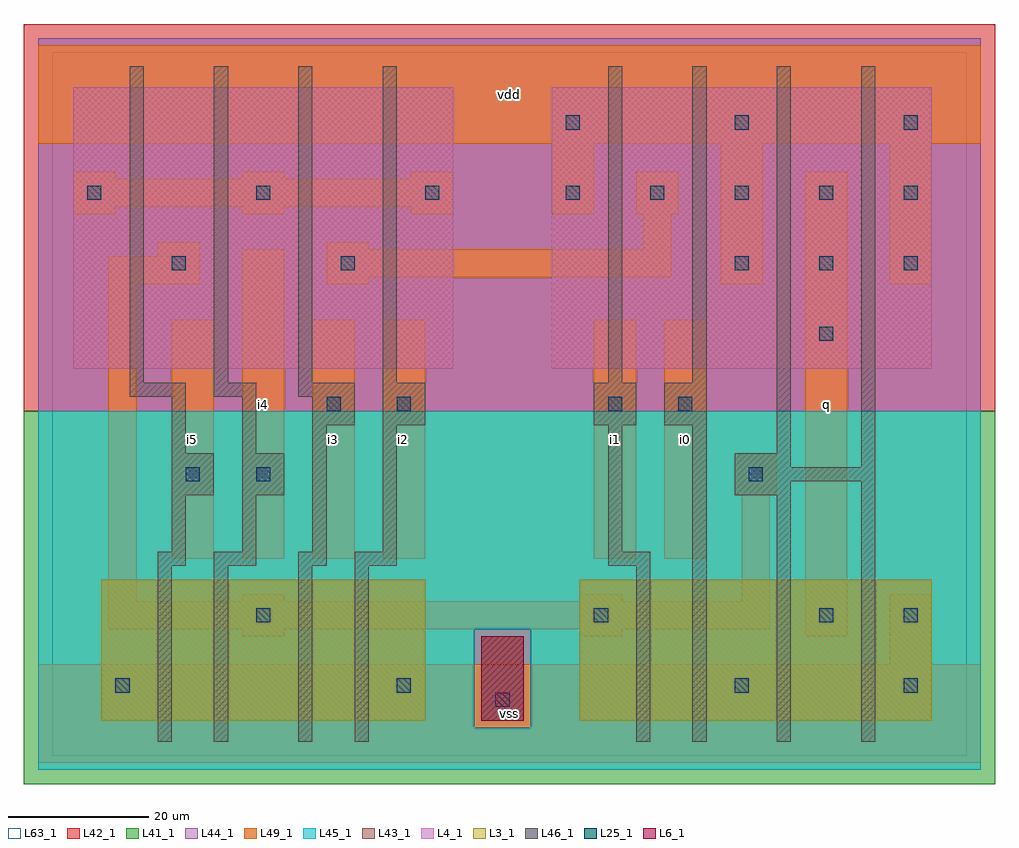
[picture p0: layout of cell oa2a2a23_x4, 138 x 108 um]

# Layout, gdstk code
import gdstk
lib = gdstk.Library(unit=1e-6, precision=1e-09)
def R(c, l, rs):  # rectangles x0, y0, x1, y1
    for r in rs: c.add(gdstk.rectangle(r[:2], r[2:], *l))
def A(c, l, x, y, w, h, nx, ny, dx, dy):  # array of equal rectangles
    R(c, l, [(x+i*dx, y+j*dy, x+i*dx+w, y+j*dy+h) for i in range(nx) for j in range(ny)])
L3_1 = (3, 1)
L4_1 = (4, 1)
L6_1 = (6, 1)
L25_1 = (25, 1)
L41_1 = (41, 1)
L42_1 = (42, 1)
L43_1 = (43, 1)
L44_1 = (44, 1)
L45_1 = (45, 1)
L46_1 = (46, 1)
L49_1 = (49, 1)
L63_1 = (63, 1)

oa2a2a23_x4 = lib.new_cell('oa2a2a23_x4')
R(oa2a2a23_x4, L3_1, [(7,5,53,25), (75,5,125,25)])
R(oa2a2a23_x4, L4_1, [(3,55,57,95), (71,55,125,95)])
R(oa2a2a23_x4, L6_1, [(61,5,67,17)])
A(oa2a2a23_x4, L25_1, 97, 69, 2, 2, 3, 1, 12, 0)
A(oa2a2a23_x4, L25_1, 5, 79, 2, 2, 3, 1, 24, 0)
A(oa2a2a23_x4, L25_1, 73, 79, 2, 2, 5, 1, 12, 0)
A(oa2a2a23_x4, L25_1, 73, 89, 2, 2, 3, 1, 24, 0)
R(oa2a2a23_x4, L25_1, [(63,7,65,9), (9,9,11,11), (49,9,51,11), (97,9,99,11), (121,9,123,11), (29,19,31,21), (77,19,79,21), (109,19,111,21), (121,19,123,21), (19,39,21,41), (29,39,31,41), (99,39,101,41), (39,49,41,51), (49,49,51,51), (79,49,81,51), (89,49,91,51), (109,59,111,61), (17,69,19,71), (41,69,43,71)])
R(oa2a2a23_x4, L41_1, [(-4,-4,134,49)])
R(oa2a2a23_x4, L42_1, [(-4,49,134,104)])
R(oa2a2a23_x4, L43_1, [(7,5,53,25), (61,5,67,17), (75,5,125,25), (3,55,57,95), (71,55,125,95)])
R(oa2a2a23_x4, L44_1, [(60,4,68,18), (-2,49,132,102)])
R(oa2a2a23_x4, L45_1, [(-2,-2,132,4), (-2,4,60,18), (68,4,132,18), (-2,18,132,49)])
A(oa2a2a23_x4, L46_1, 11, 53, 2, 45, 4, 1, 12, 0)
R(oa2a2a23_x4, L46_1, [(15,2,17,27), (23,2,25,27), (35,2,37,27), (43,2,45,27), (83,2,85,27), (91,2,93,47), (103,2,105,37), (115,2,117,39), (15,27,19,29), (23,27,29,29), (35,27,39,29), (43,27,49,29), (79,27,85,29), (17,29,19,37), (27,29,29,37), (37,29,39,47), (47,29,49,47), (79,29,81,47), (17,37,23,43), (27,37,33,43), (97,37,105,39), (97,39,117,41), (97,41,105,43), (115,41,117,98), (17,43,19,51), (27,43,29,51), (103,43,105,98), (37,47,43,51), (47,47,53,53), (77,47,83,53), (87,47,93,53), (11,51,19,53), (23,51,29,53), (35,51,43,53), (79,53,81,98), (91,53,93,98)])
A(oa2a2a23_x4, L49_1, 3, 77, 6, 1, 3, 2, 24, 5)
R(oa2a2a23_x4, L49_1, [(-2,-1,132,13), (119,13,125,23), (27,17,33,18), (75,17,81,18), (107,17,113,83), (8,18,102,22), (8,22,12,67), (27,22,33,23), (75,22,81,23), (98,22,102,37), (17,28,23,62), (27,28,33,72), (37,28,43,62), (47,28,53,62), (77,28,83,62), (87,28,93,62), (97,37,103,43), (8,67,21,71), (39,67,45,68), (95,67,101,87), (119,67,125,87), (39,68,88,72), (15,71,21,73), (39,72,45,73), (84,72,88,77), (71,77,77,87), (83,77,89,83), (3,78,57,82), (-2,87,132,101)])
R(oa2a2a23_x4, L63_1, [(0,0,130,100)])
oa2a2a23_x4.add(gdstk.Label('i5', (20,45), layer=49, texttype=1))
oa2a2a23_x4.add(gdstk.Label('i5', (20,45), layer=49, texttype=1))
oa2a2a23_x4.add(gdstk.Label('i3', (40,45), layer=49, texttype=1))
oa2a2a23_x4.add(gdstk.Label('i4', (30,50), layer=49, texttype=1))
oa2a2a23_x4.add(gdstk.Label('i4', (30,50), layer=49, texttype=1))
oa2a2a23_x4.add(gdstk.Label('i3', (40,45), layer=49, texttype=1))
oa2a2a23_x4.add(gdstk.Label('vss', (65,6), layer=49, texttype=1))
oa2a2a23_x4.add(gdstk.Label('vss', (65,6), layer=49, texttype=1))
oa2a2a23_x4.add(gdstk.Label('i2', (50,45), layer=49, texttype=1))
oa2a2a23_x4.add(gdstk.Label('i2', (50,45), layer=49, texttype=1))
oa2a2a23_x4.add(gdstk.Label('vdd', (65,94), layer=49, texttype=1))
oa2a2a23_x4.add(gdstk.Label('vdd', (65,94), layer=49, texttype=1))
oa2a2a23_x4.add(gdstk.Label('i1', (80,45), layer=49, texttype=1))
oa2a2a23_x4.add(gdstk.Label('i1', (80,45), layer=49, texttype=1))
oa2a2a23_x4.add(gdstk.Label('i0', (90,45), layer=49, texttype=1))
oa2a2a23_x4.add(gdstk.Label('i0', (90,45), layer=49, texttype=1))
oa2a2a23_x4.add(gdstk.Label('q', (110,50), layer=49, texttype=1))
oa2a2a23_x4.add(gdstk.Label('q', (110,50), layer=49, texttype=1))

lib.write_gds('oa2a2a23_x4.gds')
